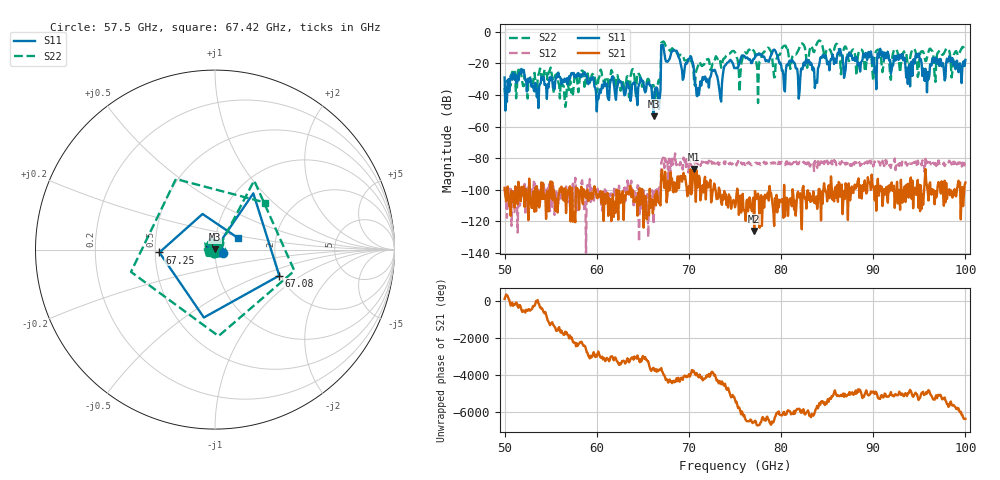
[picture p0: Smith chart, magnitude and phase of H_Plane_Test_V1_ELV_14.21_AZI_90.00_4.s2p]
! 11/27/2026 8:03:25 AM
! C:\ANRITSUVNA\TEMP\TEMP.S2P
! CHANNEL.1
! TR.MEASUREMENT
! RAW.DATA
# HZ S RI R 50.0
! FREQ.HZ  S11RE  S11IM  S21RE  S21IM  S12RE  S12IM  S22RE  S22IM
!; PortSelection: Port_12
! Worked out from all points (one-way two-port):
!   601 points, 50 GHz to 100 GHz, reference 50 ohm
!   highest |S21| = -86.80 dB at 70.5 GHz (marker M1); lowest = -126.0 dB at 77.08 GHz (marker M2)
!   lowest |S11| = -53.5 dB at 66.17 GHz (marker M3), VSWR 1.00, Z = 50.1 + j0.167 ohm
!   |S11| at or under -10 dB: start of sweep to 67 GHz; 67.24 GHz to end of sweep
!   |S22| runs from -47.6 to -5.6 dB; largest |S21 - S12| = 0.00014
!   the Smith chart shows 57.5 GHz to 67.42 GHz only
!   S11 on the Smith chart (normalised r, x): 57.5 GHz: 1.09, -0.04; 67.08 GHz: 1.96, -0.67; 67.25 GHz: 0.53, -0.02; 67.42 GHz: 1.28, +0.17
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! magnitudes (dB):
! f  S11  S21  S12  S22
! 50 GHz  -29.0  -98.8  -99.1  -35.8
! 51.67 GHz  -26.2  -100.2  -109.9  -23.2
! 53.42 GHz  -34.7  -113.5  -109.6  -35.5
! 57.5 GHz  -26.1  -115.9  -101.6  -34.5
! 58.42 GHz  -27.1  -106.5  -94.0  -24.6
! 60.17 GHz  -42.7  -102.8  -101.6  -30.2
! 66.17 GHz  -53.5  -108.8  -121.9  -33.8
! 66.67 GHz  -41.7  -107.3  -100.9  -31.6
! 67.08 GHz  -8.3  -87.3  -81.2  -6.8
! 67.25 GHz  -10.2  -93.3  -79.7  -6.3
! 67.42 GHz  -16.8  -88.6  -80.0  -8.3
! 70.5 GHz  -21.5  -86.8  -83.6  -24.9
! 70.92 GHz  -40.8  -98.6  -83.4  -22.9
! 75 GHz  -23.2  -111.0  -82.9  -13.1
! 77.08 GHz  -17.2  -126.0  -83.4  -12.4
! 77.58 GHz  -13.8  -105.4  -83.4  -22.0
! 83.42 GHz  -24.5  -106.7  -82.9  -10.9
! 91.67 GHz  -16.6  -97.3  -83.5  -15.3
! 93.75 GHz  -33.1  -96.2  -83.6  -21.8
! 94.83 GHz  -14.9  -93.8  -81.6  -28.6
! 95.83 GHz  -38.4  -97.6  -82.1  -16.4
! 100 GHz  -17.8  -95.4  -83.0  -12.6
